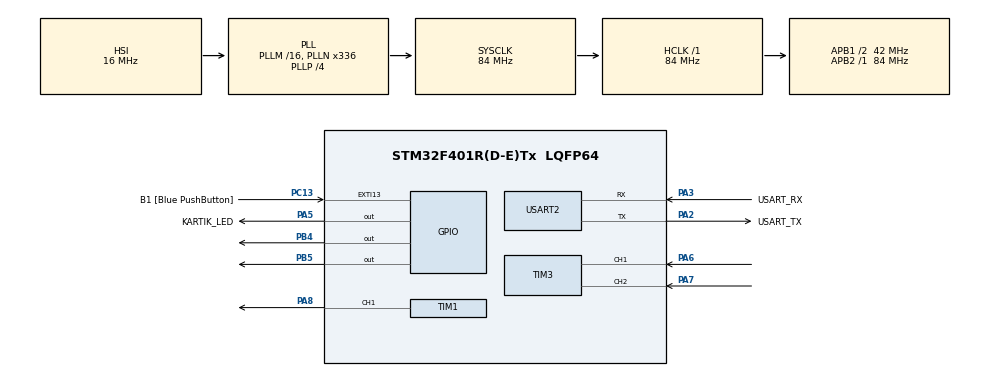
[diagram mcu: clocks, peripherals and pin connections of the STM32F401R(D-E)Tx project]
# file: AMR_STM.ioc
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Mcu.Family=STM32F4
Mcu.Name=STM32F401R(D-E)Tx
Mcu.Package=LQFP64
NVIC.PriorityGroup=NVIC_PRIORITYGROUP_4
PA13.GPIO_Label=TMS
PA13.Mode=Trace_Asynchronous_SW
PA13.Signal=SYS_JTMS-SWDIO
PA14.GPIO_Label=TCK
PA14.Mode=Trace_Asynchronous_SW
PA14.Signal=SYS_JTCK-SWCLK
PA2.GPIO_Label=USART_TX
PA2.GPIO_Mode=GPIO_MODE_AF_PP
PA2.GPIO_PuPd=GPIO_NOPULL
PA2.GPIO_Speed=GPIO_SPEED_FREQ_LOW
PA2.Mode=Asynchronous
PA2.Signal=USART2_TX
PA3.GPIO_Label=USART_RX
PA3.GPIO_Mode=GPIO_MODE_AF_PP
PA3.GPIO_PuPd=GPIO_NOPULL
PA3.GPIO_Speed=GPIO_SPEED_FREQ_LOW
PA3.Mode=Asynchronous
PA3.Signal=USART2_RX
PA5.GPIO_Label=KARTIK_LED
PA5.GPIO_Mode=GPIO_MODE_OUTPUT_PP
PA5.GPIO_PuPd=GPIO_NOPULL
PA5.GPIO_Speed=GPIO_SPEED_FREQ_LOW
PA5.Signal=GPIO_Output
PA6.Signal=S_TIM3_CH1
PA7.Signal=S_TIM3_CH2
PA8.Signal=S_TIM1_CH1
PB3.GPIO_Label=SWO
PB3.Mode=Trace_Asynchronous_SW
PB3.Signal=SYS_JTDO-SWO
PB4.Signal=GPIO_Output
PB5.Signal=GPIO_Output
PC13-ANTI_TAMP.GPIO_Label=B1 [Blue PushButton]
PC13-ANTI_TAMP.GPIO_ModeDefaultEXTI=GPIO_MODE_IT_FALLING
PC13-ANTI_TAMP.GPIO_PuPd=GPIO_NOPULL
PC13-ANTI_TAMP.Signal=GPXTI13
PC14-OSC32_IN.Mode=LSE-External-Oscillator
PC14-OSC32_IN.Signal=RCC_OSC32_IN
PC15-OSC32_OUT.Mode=LSE-External-Oscillator
PC15-OSC32_OUT.Signal=RCC_OSC32_OUT
PH0\ -\ OSC_IN.Mode=HSE-External-Clock-Source
PH0\ -\ OSC_IN.Signal=RCC_OSC_IN
PH1\ -\ OSC_OUT.Mode=HSE-External-Clock-Source
PH1\ -\ OSC_OUT.Signal=RCC_OSC_OUT
ProjectManager.HeapSize=0x200
ProjectManager.StackSize=0x400
ProjectManager.TargetToolchain=STM32CubeIDE
RCC.48MHZClocksFreq_Value=48000000
RCC.AHBFreq_Value=84000000
RCC.APB1CLKDivider=RCC_HCLK_DIV2
RCC.APB1Freq_Value=42000000
RCC.APB1TimFreq_Value=84000000
RCC.APB2Freq_Value=84000000
RCC.APB2TimFreq_Value=84000000
RCC.CortexFreq_Value=84000000
RCC.HCLKFreq_Value=84000000
RCC.HSE_VALUE=8000000
RCC.HSI_VALUE=16000000
RCC.PLLN=336
RCC.PLLP=RCC_PLLP_DIV4
RCC.PLLQ=7
RCC.SYSCLKFreq_VALUE=84000000
RCC.SYSCLKSource=RCC_SYSCLKSOURCE_PLLCLK
RCC.VCOOutputFreq_Value=336000000
SH.S_TIM1_CH1.0=TIM1_CH1,PWM Generation1 CH1
SH.S_TIM3_CH1.0=TIM3_CH1,Encoder_Interface
SH.S_TIM3_CH2.0=TIM3_CH2,Encoder_Interface
TIM1.Channel-PWM\ Generation1\ CH1=TIM_CHANNEL_1
TIM1.Period=499
TIM1.Prescaler=83
TIM3.EncoderMode=TIM_ENCODERMODE_TI12
USART2.VirtualMode=VM_ASYNC
VP_TIM1_VS_ClockSourceINT.Mode=Internal
board=NUCLEO-F401RE

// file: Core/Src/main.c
/* USER CODE BEGIN Header */
/**
  ******************************************************************************
  * @file           : main.c
  * @brief          : Main program body
  ******************************************************************************
  * @attention
  *
  * Copyright (c) 2025 STMicroelectronics.
  * All rights reserved.
  *
  * This software is licensed under terms that can be found in the LICENSE file
  * in the root directory of this software component.
  * If no LICENSE file comes with this software, it is provided AS-IS.
  *
  ******************************************************************************
  */
/* USER CODE END Header */
#include "main.h"

/* USER CODE BEGIN Includes */
#include <stdio.h>
#include <string.h>
#include <stdint.h>
#include "encoder.h"
#include "motor.h"
#include "pid.h"
#include "ramp.h"
#include "test.h"
#include "test_step.h"
#include "test_sine.h"
#include "test_f_sweep.h"

/* USER CODE END Includes */

TIM_HandleTypeDef htim1;
TIM_HandleTypeDef htim3;
UART_HandleTypeDef huart2;

/* USER CODE BEGIN PV */
#define ENCODER_PPR         12U      // replace with your encoder's PPR (per channel)
#define COUNTS_PER_REV      (uint32_t)(ENCODER_PPR * 4U)   // quadrature counting = 4x

/* Sampling period (ms) */
#define SAMPLE_INTERVAL_MS  100U      // 100 ms sample period

Encoder_t enc1;
Motor_t motor1;
PID_t pid_speed;
Ramp_t speed_ramp;

float target_rpm = 1000.0f;  // desired RPM
char uart_buf[128];          // UART buffer for prints
static uint32_t last_header_time = 0;

/* USER CODE END PV */

void SystemClock_Config(void);
static void MX_GPIO_Init(void);
static void MX_USART2_UART_Init(void);
static void MX_TIM1_Init(void);
static void MX_TIM3_Init(void);

int main(void)
{

  /* MCU Configuration--------------------------------------------------------*/

  /* Reset of all peripherals, Initializes the Flash interface and the Systick. */
  HAL_Init();

  /* Configure the system clock */
  SystemClock_Config();

  /* Initialize all configured peripherals */
  MX_GPIO_Init();
  MX_USART2_UART_Init();
  MX_TIM1_Init();
  MX_TIM3_Init();
  /* USER CODE BEGIN 2 */
  // === Initialize motor ===
  motor1.htim = &htim1;
  motor1.channel = TIM_CHANNEL_1;
  motor1.dir_port_a = GPIOB;
  motor1.dir_pin_a = GPIO_PIN_4;
  motor1.dir_port_b = GPIOB;
  motor1.dir_pin_b = GPIO_PIN_5;
  Motor_Init(&motor1);

  // === Initialize encoder ===
  Encoder_Init(&enc1, &htim3, COUNTS_PER_REV, SAMPLE_INTERVAL_MS);

  // === Initialize PID ===
  PID_Init(&pid_speed, 0.5f, 0.2f, 0.01f, -((float)htim1.Init.Period), (float)htim1.Init.Period);

  /* Reset PID state to ensure clean start */
  pid_speed.integral = 0.0f;
  pid_speed.prev_error = 0.0f;
  pid_speed.last_error = 0.0f;

  /* Optionally, if your PID struct stores derivative */
  pid_speed.derivative = 0.0f;

  // === Initialize Ramp ===
  Ramp_Init(&speed_ramp, 0.0f, 50.0f); // allow 200 RPM per second slew

  /* --- Initialize test framework --- */
  Test_InitSystem();

  /* Choose one test to run. Uncomment the one you want. */
  Test_SetActive(&Test_Step);    // step input test (default)
  // Test_SetActive(&Test_Sine); // smooth sine test
  // Test_SetActive(&Test_F_Sweep); // chirp / frequency sweep test

  /* Start encoder timer */
  if (HAL_TIM_Encoder_Start(&htim3, TIM_CHANNEL_ALL) != HAL_OK) {
    Error_Handler();
  }

  /* Timestamp for next sample */
  uint32_t last_sample_tick = HAL_GetTick();
  /* USER CODE END 2 */

  /* Infinite loop */
  /* USER CODE BEGIN WHILE */
  while (1)
  {
	  /* Run control loop every SAMPLE_INTERVAL_MS */
	  uint32_t now = HAL_GetTick();
	  if ((now - last_sample_tick) >= SAMPLE_INTERVAL_MS)
	  {
		last_sample_tick += SAMPLE_INTERVAL_MS;

		/* update encoder (reads TIM3 counter and computes rpm/position) */
		Encoder_Update(&enc1);

		/* read current measurement */
		float measured_rpm = Encoder_GetRPM(&enc1);
		int32_t pos_counts = Encoder_GetPosition(&enc1);

		/* dt for this cycle (seconds) */
		float dt = (float)SAMPLE_INTERVAL_MS / 1000.0f;

		/* let the active test update the target setpoint (target_rpm) */
		{
			const Test_t *active = Test_GetActive();
			if (active && active->update) {
				active->update(dt); /* tests can use dt or HAL_GetTick internally */
			}
		}

		/* PID update (dt in seconds) -- use ramped command_rpm */
		float cmd_rpm = Ramp_Update(&speed_ramp, target_rpm, dt);
		float pwm_out = PID_Update(&pid_speed, cmd_rpm, measured_rpm, dt);

		/* convert pwm_out to integer PWM value and apply to motor */
		/* pid configured to output between 0..htim1 period or -period..+period depending on usage */
		int32_t pwm_int = (int32_t) (pwm_out);

		Motor_SetPWM(&motor1, pwm_int);

		/* Send telemetry over UART */
		if (HAL_GetTick() - last_header_time > 10000) {
		    const Test_t *active = Test_GetActive();
		    const char *tname = active ? active->name : "none";
		    int hlen = snprintf(uart_buf, sizeof(uart_buf), "#HEADER: test=%s,t,pos,cmd,meas,err,p,i,d,pwm\r\n", tname);
		    if (hlen > 0) HAL_UART_Transmit(&huart2, (uint8_t*)uart_buf, (uint16_t)hlen, HAL_MAX_DELAY);
		    last_header_time = HAL_GetTick();
		}

		int len = snprintf(uart_buf, sizeof(uart_buf),
		                   "%.2f,%ld,%.2f,%.2f,%.2f,%.2f,%.2f,%.2f,%ld\r\n",
		                   (float)HAL_GetTick() / 1000.0f,
		                   (long)pos_counts,
		                   cmd_rpm,
		                   measured_rpm,
		                   pid_speed.last_error,
		                   pid_speed.Kp * pid_speed.last_error,
		                   pid_speed.Ki * pid_speed.integral,
		                   pid_speed.Kd * pid_speed.derivative,
		                   (long)pwm_int);

		if (len > 0) {
		    HAL_UART_Transmit(&huart2, (uint8_t*)uart_buf, (uint16_t)len, HAL_MAX_DELAY);
		}
	}

		/* other non-time-critical background tasks can go here */

    /* USER CODE END WHILE */

  }
}

void SystemClock_Config(void)
{
  RCC_OscInitTypeDef RCC_OscInitStruct = {0};
  RCC_ClkInitTypeDef RCC_ClkInitStruct = {0};

  /** Configure the main internal regulator output voltage
  */
  __HAL_RCC_PWR_CLK_ENABLE();
  __HAL_PWR_VOLTAGESCALING_CONFIG(PWR_REGULATOR_VOLTAGE_SCALE2);

  /** Initializes the RCC Oscillators according to the specified parameters
  * in the RCC_OscInitTypeDef structure.
  */
  RCC_OscInitStruct.OscillatorType = RCC_OSCILLATORTYPE_HSI;
  RCC_OscInitStruct.HSIState = RCC_HSI_ON;
  RCC_OscInitStruct.HSICalibrationValue = RCC_HSICALIBRATION_DEFAULT;
  RCC_OscInitStruct.PLL.PLLState = RCC_PLL_ON;
  RCC_OscInitStruct.PLL.PLLSource = RCC_PLLSOURCE_HSI;
  RCC_OscInitStruct.PLL.PLLM = 16;
  RCC_OscInitStruct.PLL.PLLN = 336;
  RCC_OscInitStruct.PLL.PLLP = RCC_PLLP_DIV4;
  RCC_OscInitStruct.PLL.PLLQ = 7;
  if (HAL_RCC_OscConfig(&RCC_OscInitStruct) != HAL_OK)
  {
    Error_Handler();
  }

  /** Initializes the CPU, AHB and APB buses clocks
  */
  RCC_ClkInitStruct.ClockType = RCC_CLOCKTYPE_HCLK|RCC_CLOCKTYPE_SYSCLK
                              |RCC_CLOCKTYPE_PCLK1|RCC_CLOCKTYPE_PCLK2;
  RCC_ClkInitStruct.SYSCLKSource = RCC_SYSCLKSOURCE_PLLCLK;
  RCC_ClkInitStruct.AHBCLKDivider = RCC_SYSCLK_DIV1;
  RCC_ClkInitStruct.APB1CLKDivider = RCC_HCLK_DIV2;
  RCC_ClkInitStruct.APB2CLKDivider = RCC_HCLK_DIV1;

  if (HAL_RCC_ClockConfig(&RCC_ClkInitStruct, FLASH_LATENCY_2) != HAL_OK)
  {
    Error_Handler();
  }
}

static void MX_TIM1_Init(void)
{

  TIM_ClockConfigTypeDef sClockSourceConfig = {0};
  TIM_MasterConfigTypeDef sMasterConfig = {0};
  TIM_OC_InitTypeDef sConfigOC = {0};
  TIM_BreakDeadTimeConfigTypeDef sBreakDeadTimeConfig = {0};

  htim1.Instance = TIM1;
  htim1.Init.Prescaler = 83;
  htim1.Init.CounterMode = TIM_COUNTERMODE_UP;
  htim1.Init.Period = 499;
  htim1.Init.ClockDivision = TIM_CLOCKDIVISION_DIV1;
  htim1.Init.RepetitionCounter = 0;
  htim1.Init.AutoReloadPreload = TIM_AUTORELOAD_PRELOAD_DISABLE;
  if (HAL_TIM_Base_Init(&htim1) != HAL_OK)
  {
    Error_Handler();
  }
  sClockSourceConfig.ClockSource = TIM_CLOCKSOURCE_INTERNAL;
  if (HAL_TIM_ConfigClockSource(&htim1, &sClockSourceConfig) != HAL_OK)
  {
    Error_Handler();
  }
  if (HAL_TIM_PWM_Init(&htim1) != HAL_OK)
  {
    Error_Handler();
  }
  sMasterConfig.MasterOutputTrigger = TIM_TRGO_RESET;
  sMasterConfig.MasterSlaveMode = TIM_MASTERSLAVEMODE_DISABLE;
  if (HAL_TIMEx_MasterConfigSynchronization(&htim1, &sMasterConfig) != HAL_OK)
  {
    Error_Handler();
  }
  sConfigOC.OCMode = TIM_OCMODE_PWM1;
  sConfigOC.Pulse = 0;
  sConfigOC.OCPolarity = TIM_OCPOLARITY_HIGH;
  sConfigOC.OCNPolarity = TIM_OCNPOLARITY_HIGH;
  sConfigOC.OCFastMode = TIM_OCFAST_DISABLE;
  sConfigOC.OCIdleState = TIM_OCIDLESTATE_RESET;
  sConfigOC.OCNIdleState = TIM_OCNIDLESTATE_RESET;
  if (HAL_TIM_PWM_ConfigChannel(&htim1, &sConfigOC, TIM_CHANNEL_1) != HAL_OK)
  {
    Error_Handler();
  }
  sBreakDeadTimeConfig.OffStateRunMode = TIM_OSSR_DISABLE;
  sBreakDeadTimeConfig.OffStateIDLEMode = TIM_OSSI_DISABLE;
  sBreakDeadTimeConfig.LockLevel = TIM_LOCKLEVEL_OFF;
  sBreakDeadTimeConfig.DeadTime = 0;
  sBreakDeadTimeConfig.BreakState = TIM_BREAK_DISABLE;
  sBreakDeadTimeConfig.BreakPolarity = TIM_BREAKPOLARITY_HIGH;
  sBreakDeadTimeConfig.AutomaticOutput = TIM_AUTOMATICOUTPUT_ENABLE;
  if (HAL_TIMEx_ConfigBreakDeadTime(&htim1, &sBreakDeadTimeConfig) != HAL_OK)
  {
    Error_Handler();
  }
  HAL_TIM_MspPostInit(&htim1);

}

static void MX_TIM3_Init(void)
{

  TIM_Encoder_InitTypeDef sConfig = {0};
  TIM_MasterConfigTypeDef sMasterConfig = {0};

  htim3.Instance = TIM3;
  htim3.Init.Prescaler = 0;
  htim3.Init.CounterMode = TIM_COUNTERMODE_UP;
  htim3.Init.Period = 65535;
  htim3.Init.ClockDivision = TIM_CLOCKDIVISION_DIV1;
  htim3.Init.AutoReloadPreload = TIM_AUTORELOAD_PRELOAD_DISABLE;
  sConfig.EncoderMode = TIM_ENCODERMODE_TI12;
  sConfig.IC1Polarity = TIM_ICPOLARITY_RISING;
  sConfig.IC1Selection = TIM_ICSELECTION_DIRECTTI;
  sConfig.IC1Prescaler = TIM_ICPSC_DIV1;
  sConfig.IC1Filter = 0;
  sConfig.IC2Polarity = TIM_ICPOLARITY_RISING;
  sConfig.IC2Selection = TIM_ICSELECTION_DIRECTTI;
  sConfig.IC2Prescaler = TIM_ICPSC_DIV1;
  sConfig.IC2Filter = 0;
  if (HAL_TIM_Encoder_Init(&htim3, &sConfig) != HAL_OK)
  {
    Error_Handler();
  }
  sMasterConfig.MasterOutputTrigger = TIM_TRGO_RESET;
  sMasterConfig.MasterSlaveMode = TIM_MASTERSLAVEMODE_DISABLE;
  if (HAL_TIMEx_MasterConfigSynchronization(&htim3, &sMasterConfig) != HAL_OK)
  {
    Error_Handler();
  }

}

static void MX_USART2_UART_Init(void)
{

  huart2.Instance = USART2;
  huart2.Init.BaudRate = 460800;
  huart2.Init.WordLength = UART_WORDLENGTH_8B;
  huart2.Init.StopBits = UART_STOPBITS_1;
  huart2.Init.Parity = UART_PARITY_NONE;
  huart2.Init.Mode = UART_MODE_TX_RX;
  huart2.Init.HwFlowCtl = UART_HWCONTROL_NONE;
  huart2.Init.OverSampling = UART_OVERSAMPLING_16;
  if (HAL_UART_Init(&huart2) != HAL_OK)
  {
    Error_Handler();
  }

}

static void MX_GPIO_Init(void)
{
  GPIO_InitTypeDef GPIO_InitStruct = {0};

  /* GPIO Ports Clock Enable */
  __HAL_RCC_GPIOC_CLK_ENABLE();
  __HAL_RCC_GPIOH_CLK_ENABLE();
  __HAL_RCC_GPIOA_CLK_ENABLE();
  __HAL_RCC_GPIOB_CLK_ENABLE();

  /*Configure GPIO pin Output Level */
  HAL_GPIO_WritePin(KARTIK_LED_GPIO_Port, KARTIK_LED_Pin, GPIO_PIN_RESET);

  /*Configure GPIO pin Output Level */
  HAL_GPIO_WritePin(GPIOB, GPIO_PIN_4|GPIO_PIN_5, GPIO_PIN_RESET);

  /*Configure GPIO pin : B1_Pin */
  GPIO_InitStruct.Pin = B1_Pin;
  GPIO_InitStruct.Mode = GPIO_MODE_IT_FALLING;
  GPIO_InitStruct.Pull = GPIO_NOPULL;
  HAL_GPIO_Init(B1_GPIO_Port, &GPIO_InitStruct);

  /*Configure GPIO pin : KARTIK_LED_Pin */
  GPIO_InitStruct.Pin = KARTIK_LED_Pin;
  GPIO_InitStruct.Mode = GPIO_MODE_OUTPUT_PP;
  GPIO_InitStruct.Pull = GPIO_NOPULL;
  GPIO_InitStruct.Speed = GPIO_SPEED_FREQ_LOW;
  HAL_GPIO_Init(KARTIK_LED_GPIO_Port, &GPIO_InitStruct);

  /*Configure GPIO pins : PB4 PB5 */
  GPIO_InitStruct.Pin = GPIO_PIN_4|GPIO_PIN_5;
  GPIO_InitStruct.Mode = GPIO_MODE_OUTPUT_PP;
  GPIO_InitStruct.Pull = GPIO_NOPULL;
  GPIO_InitStruct.Speed = GPIO_SPEED_FREQ_LOW;
  HAL_GPIO_Init(GPIOB, &GPIO_InitStruct);

}

void Error_Handler(void)
{
  __disable_irq();
  while (1)
  {
  }
}
